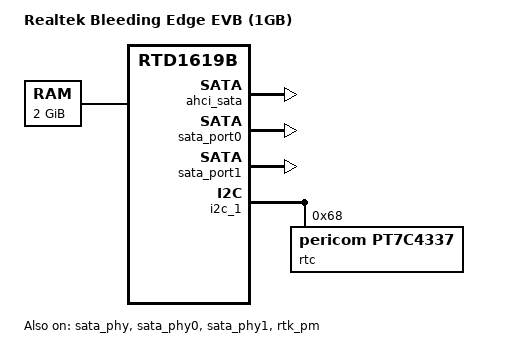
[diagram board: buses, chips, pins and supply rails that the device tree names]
// SPDX-License-Identifier: (GPL-2.0-or-later OR BSD-2-Clause)
/*
 * Copyright (c) 2020 Realtek Semiconductor Corp.
 */

/dts-v1/;

#include "rtd1619b-bleedingedge.dtsi"

/ {
	compatible = "realtek,bleeding-edge", "realtek,rtd1619b";
	model = "Realtek Bleeding Edge EVB (1GB)";

	memory@4000 {
		device_type = "memory";
		reg = <0x00040000 0x7ffc0000>; /* 1 GB */
	};
	soc@0 {
		rbus: rbus@98000000 {
			npu: npu-wrapper@85000 {
				reg = <0x85000 0x2000>;
				compatible = "realtek,npu-wrapper";
				power-domains = <&pwr_npu>;
				interrupts = <GIC_SPI 102 IRQ_TYPE_LEVEL_HIGH>;
				clocks = <&cc RTD1619B_CRT_CLK_NPU>,
					<&cc RTD1619B_CRT_PLL_HIFI>;
				clock-names = "npu", "pll_hifi";
				resets = <&pwr_npu>;
				contiguousSize = <0x0 0x1000000>;
				realtek,sb2 = <&sb2>;
				status = "okay";
			};

			ve1: ve1@40000 {
				power-domains = <&pwr_ve1>;
				resets = <&pwr_ve1>;
				reset-names = "reset";
				/delete-property/ clocks;
				/delete-property/ assigned-clocks;
				/delete-property/ assigned-clock-parents;
			};
		};
	};

	vcpu: vcpu0 {
		compatible = "realtek,rtd1319-vcpu";
		power-domains = <&pwr_ve2>;
		/delete-property/ clocks;
		/delete-property/ resets;
		/delete-property/ reset-names;
	};

	vcpu_ve3: vcpu1 {
		compatible = "realtek,rtd1319-vcpu";
		power-domains = <&pwr_ve3>;
		/delete-property/ clocks;
	};
};

&iso {
	/delete-node/ power-domain;

	dco: dco {
		compatible = "realtek,dco";
	};

	pwr_ve1: power-ve1 {
		compatible = "realtek,rtd1319-ve1-power";
		#power-domain-cells = <0>;
		#reset-cells = <0>;
		clocks = <&cc RTD1619B_CRT_CLK_VE1>;
		resets = <&cc RTD1619B_CRT_RSTN_VE1>,
			 <&cc RTD1619B_CRT_RSTN_VE1_BIST>;
		reset-names = "reset", "bist";

		assigned-clocks = <&cc RTD1619B_CRT_CLK_VE1>;
		assigned-clock-parents = <&cc RTD1619B_CRT_PLL_VE1>;
	};

	pwr_ve2: power-ve2 {
		compatible = "realtek,rtd1395-ve2-power";
		#power-domain-cells = <0>;
		#reset-cells = <0>;
		clocks = <&cc RTD1619B_CRT_CLK_VE2>;
		resets = <&cc RTD1619B_CRT_RSTN_VE2>,
			 <&cc RTD1619B_CRT_RSTN_VE2_BIST>;
		reset-names = "reset", "bist";
	};

	pwr_ve3: power-ve3 {
		compatible = "realtek,rtd1619-ve3-power";
		#power-domain-cells = <0>;
		#reset-cells = <0>;
		clocks = <&cc RTD1619B_CRT_CLK_VE3>;
	};

	pwr_gpu: power-gpu {
		compatible = "realtek,rtd1395-gpu-power";
		#power-domain-cells = <0>;
	};

	pwr_hifi0: power-hifi0 {
		compatible = "realtek,rtd1619b-hifi0-power";
		#power-domain-cells = <0>;
	};

	pwr_hifi1: power-hifi1 {
		compatible = "realtek,rtd1619b-hifi1-power";
		#power-domain-cells = <0>;
	};

	pwr_npu: power-npu {
		compatible = "realtek,rtd1619b-npu-power";
		#power-domain-cells = <0>;
		#reset-cells = <0>;
		clocks = <&cc RTD1619B_CRT_CLK_NPU>,
			 <&cc RTD1619B_CRT_CLK_HIFI>,
			 <&cc RTD1619B_CRT_CLK_EN_NPU>,
			 <&cc RTD1619B_CRT_CLK_EN_NPUPP>;
		resets = <&cc RTD1619B_CRT_RSTN_SOFT_NPU>,
			 <&cc RTD1619B_CRT_RSTN_NPU_BIST>;
		reset-names = "auto", "bist";
	};
};

&pcie1 {
	status = "disabled";
};

&pcie2 {
	status = "disabled";
};

&sata_phy {
	status = "okay";
};

&sata_phy0 {
	tx-drv = <0x40ab2001>, <0x40ab6001>, <0x40aba001>,
	         <0x12601a01>, <0x12605a01>, <0x126b9a01>;
	status = "okay";
};

&sata_phy1 {
	tx-drv = <0x40ab2001>, <0x40ab6001>, <0x40ada001>,
	         <0x12601a01>, <0x12605a01>, <0x126a9a01>;
	status = "okay";
};

&ahci_sata {
	hostinit-mode = <1>;
	status = "okay";
};

&sata_port0 {
	status = "okay";
};

&sata_port1 {
	status = "okay";
};

&rtk_pm {
	wakeup-flags = <(LAN | GPIO | RTC | TIMER | CEC)>;
	wakeup-gpio-list = <26 GPIO_WAKEUP_ENABLE GPIO_WAKEUP_ACTIVE_HIGH>;
	wakeup-timer = <0>;
	status = "okay";
};

&i2c_1 {
	rtc@68 {
		compatible = "pericom,pt7c4337";
		reg = <0x68>;
		wakeup-source;
	};
};

&protected_mem {
	status = "disabled";
};

&rpc_comm {
	status = "disabled";
};

&rpc_ringbuf {
	status = "disabled";
};

&video_fw_ve3 {
	status = "disabled";
};

&audio_heap {
	status = "disabled";
};

&media_heap {
	status = "disabled";
};

&cma_resrved_1 {
	status = "disabled";
};

&cma_resrved_2 {
	status = "disabled";
};

&cma_resrved_3 {
	status = "disabled";
};

&cma_resrved_4 {
	status = "disabled";
};

&cma_resrved_5 {
	status = "disabled";
};

&cma_resrved_6 {
	status = "disabled";
};

&cma_resrved_7 {
	status = "disabled";
};

&cma_resrved_8 {
	status = "disabled";
};

&cma_resrved_9 {
	status = "disabled";
};

&rtk_ion {
	status = "disabled";
};

&tee {
	status = "disabled";
};

&hifi {
	status = "disabled";
};

&nic {
	led-cfg = <0x17000F00>;
	eee = <0>; /* 0: disable, 1: enable */
};

&rpc {
	status = "disabled";
};

&rtk_fw_pm {
	status = "disabled";
};

&reserved_memory {
       ramoops@22000000  {
               compatible = "ramoops";
               reg = <0x22000000 0x00200000>;
               console-size = <0x00100000>;
               record-size = <0x00004000>;
               ftrace-size = <0x00004000>;
       };
};
